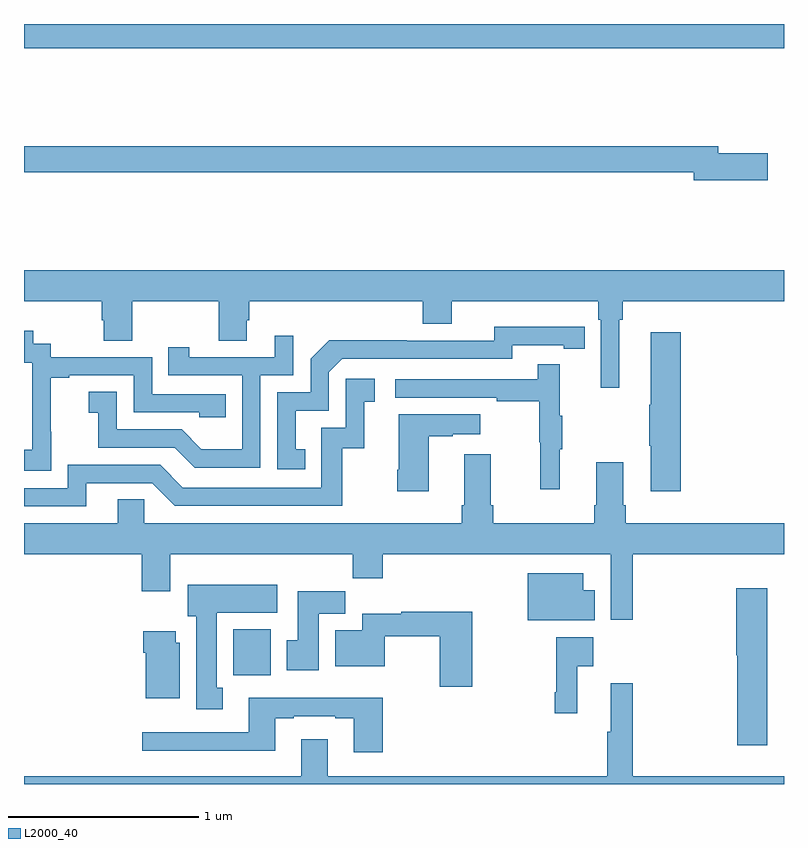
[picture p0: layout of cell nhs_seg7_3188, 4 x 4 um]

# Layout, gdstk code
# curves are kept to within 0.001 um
import gdstk
lib = gdstk.Library(unit=1e-6, precision=1e-09)
def R(c, l, rs):  # rectangles x0, y0, x1, y1
    for r in rs: c.add(gdstk.rectangle(r[:2], r[2:], *l))
def P(c, l, *ps):  # polygons
    for p in ps: c.add(gdstk.Polygon(p, *l))
L2000_40 = (2000, 40)

nhs_seg7_3188 = lib.new_cell('nhs_seg7_3188')
R(nhs_seg7_3188, L2000_40, [(314.102,1074.572,314.299,1074.814), (313,1077.872,317,1078)])
P(nhs_seg7_3188, L2000_40, [(316.915,1077.32),(316.654,1077.32),(316.654,1077.356),(313,1077.356),(313,1077.22),(316.526,1077.22),(316.526,1077.178),(316.915,1077.178)],
  [(316.132,1076.444),(316.151,1076.444),(316.151,1076.54),(317,1076.54),(317,1076.704),(313,1076.704),(313,1076.54),(313.409,1076.54),(313.409,1076.442),(313.421,1076.442),(313.421,1076.332),(313.569,1076.332),(313.569,1076.54),(314.026,1076.54),(314.026,1076.332),(314.173,1076.332),(314.173,1076.442),(314.186,1076.442),(314.186,1076.54),(315.098,1076.54),(315.098,1076.423),(315.25,1076.423),(315.25,1076.54),(316.022,1076.54),(316.022,1076.444),(316.035,1076.444),(316.035,1076.085),(316.132,1076.085)],
  [(314.48,1075.761),(314.431,1075.761),(314.431,1075.965),(314.604,1075.965),(314.604,1076.166),(314.676,1076.238),(315.57,1076.238),(315.57,1076.31),(315.842,1076.31),(315.842,1076.29),(315.95,1076.29),(315.95,1076.406),(315.474,1076.407),(315.474,1076.334),(315.014,1076.334),(315.014,1076.336),(314.606,1076.336),(314.508,1076.238),(314.508,1076.061),(314.334,1076.061),(314.334,1075.656),(314.48,1075.656)],
  [(313.143,1075.855),(313.142,1075.855),(313.142,1076.139),(313.237,1076.139),(313.237,1076.151),(313.578,1076.151),(313.578,1075.956),(313.923,1075.956),(313.923,1075.929),(314.063,1075.929),(314.063,1076.052),(313.674,1076.052),(313.674,1076.247),(313.14,1076.247),(313.14,1076.316),(313.048,1076.316),(313.048,1076.386),(313,1076.386),(313,1076.217),(313.044,1076.217),(313.044,1075.988),(313.043,1075.988),(313.043,1075.759),(313,1075.759),(313,1075.649),(313.143,1075.649)],
  [(316.457,1076.377),(316.298,1076.377),(316.298,1075.997),(316.291,1075.997),(316.291,1075.78),(316.298,1075.78),(316.298,1075.542),(316.457,1075.542)],
  [(314.244,1076.151),(314.418,1076.151),(314.418,1076.359),(314.321,1076.359),(314.321,1076.247),(313.87,1076.247),(313.87,1076.299),(313.759,1076.299),(313.759,1076.151),(314.148,1076.151),(314.148,1075.762),(313.934,1075.762),(313.83,1075.866),(313.488,1075.866),(313.488,1076.065),(313.341,1076.065),(313.341,1075.955),(313.39,1075.955),(313.39,1075.77),(313.793,1075.77),(313.898,1075.665),(314.244,1075.665)],
  [(315.821,1075.763),(315.832,1075.763),(315.832,1075.937),(315.821,1075.937),(315.821,1076.209),(315.703,1076.209),(315.703,1076.13),(314.955,1076.13),(314.955,1076.034),(315.487,1076.034),(315.487,1076.014),(315.711,1076.014),(315.711,1075.8),(315.718,1075.8),(315.718,1075.551),(315.821,1075.551)],
  [(313.327,1075.584),(313.674,1075.584),(313.794,1075.464),(314.674,1075.464),(314.674,1075.767),(314.792,1075.767),(314.792,1076.013),(314.845,1076.013),(314.845,1076.134),(314.694,1076.134),(314.694,1075.875),(314.565,1075.875),(314.565,1075.56),(313.836,1075.56),(313.716,1075.68),(313.23,1075.68),(313.23,1075.557),(313,1075.557),(313,1075.461),(313.327,1075.461)],
  [(315.13,1075.831),(315.257,1075.831),(315.257,1075.841),(315.4,1075.841),(315.4,1075.945),(314.972,1075.945),(314.972,1075.654),(314.965,1075.654),(314.965,1075.542),(315.13,1075.542)],
  [(316.205,1075.208),(317,1075.208),(317,1075.372),(316.166,1075.372),(316.166,1075.468),(316.153,1075.468),(316.153,1075.693),(316.013,1075.693),(316.013,1075.468),(316.001,1075.468),(316.001,1075.372),(315.47,1075.372),(315.47,1075.468),(315.457,1075.468),(315.457,1075.735),(315.317,1075.735),(315.317,1075.468),(315.305,1075.468),(315.305,1075.372),(313.632,1075.372),(313.632,1075.499),(313.493,1075.499),(313.493,1075.372),(313,1075.372),(313,1075.208),(313.619,1075.208),(313.619,1075.014),(313.771,1075.014),(313.771,1075.208),(314.731,1075.208),(314.731,1075.084),(314.888,1075.084),(314.888,1075.208),(316.089,1075.208),(316.089,1074.864),(316.205,1074.864)],
  [(316.004,1075.021),(315.943,1075.021),(315.943,1075.108),(315.65,1075.108),(315.65,1074.863),(316.004,1074.863)],
  [(314.047,1074.506),(314.014,1074.506),(314.014,1074.902),(314.332,1074.902),(314.332,1075.048),(313.862,1075.048),(313.862,1074.882),(313.907,1074.882),(313.907,1074.393),(314.047,1074.393)],
  [(316.912,1075.03),(316.748,1075.03),(316.748,1074.678),(316.754,1074.678),(316.754,1074.204),(316.912,1074.204)],
  [(314.551,1074.896),(314.69,1074.896),(314.69,1075.015),(314.441,1075.015),(314.441,1074.756),(314.384,1074.756),(314.384,1074.6),(314.551,1074.6)],
  [(315.36,1074.907),(314.986,1074.907),(314.986,1074.896),(314.78,1074.896),(314.78,1074.808),(314.639,1074.808),(314.639,1074.62),(314.898,1074.62),(314.898,1074.778),(315.187,1074.778),(315.187,1074.513),(315.36,1074.513)],
  [(313.819,1074.744),(313.798,1074.744),(313.798,1074.805),(313.628,1074.805),(313.628,1074.692),(313.64,1074.692),(313.64,1074.452),(313.819,1074.452)],
  [(315.911,1074.62),(315.997,1074.62),(315.997,1074.772),(315.801,1074.772),(315.801,1074.484),(315.793,1074.484),(315.793,1074.372),(315.911,1074.372)],
  [(317,1074.04),(316.205,1074.04),(316.205,1074.529),(316.088,1074.529),(316.088,1074.276),(316.069,1074.276),(316.069,1074.04),(314.599,1074.04),(314.599,1074.235),(314.459,1074.235),(314.459,1074.04),(313,1074.04),(313,1074),(317,1074)],
  [(314.888,1074.454),(314.183,1074.454),(314.183,1074.273),(313.623,1074.273),(313.623,1074.176),(314.323,1074.176),(314.323,1074.345),(314.419,1074.345),(314.419,1074.357),(314.639,1074.357),(314.639,1074.345),(314.735,1074.345),(314.735,1074.168),(314.888,1074.168)])

lib.write_gds('nhs_seg7_3188.gds')
